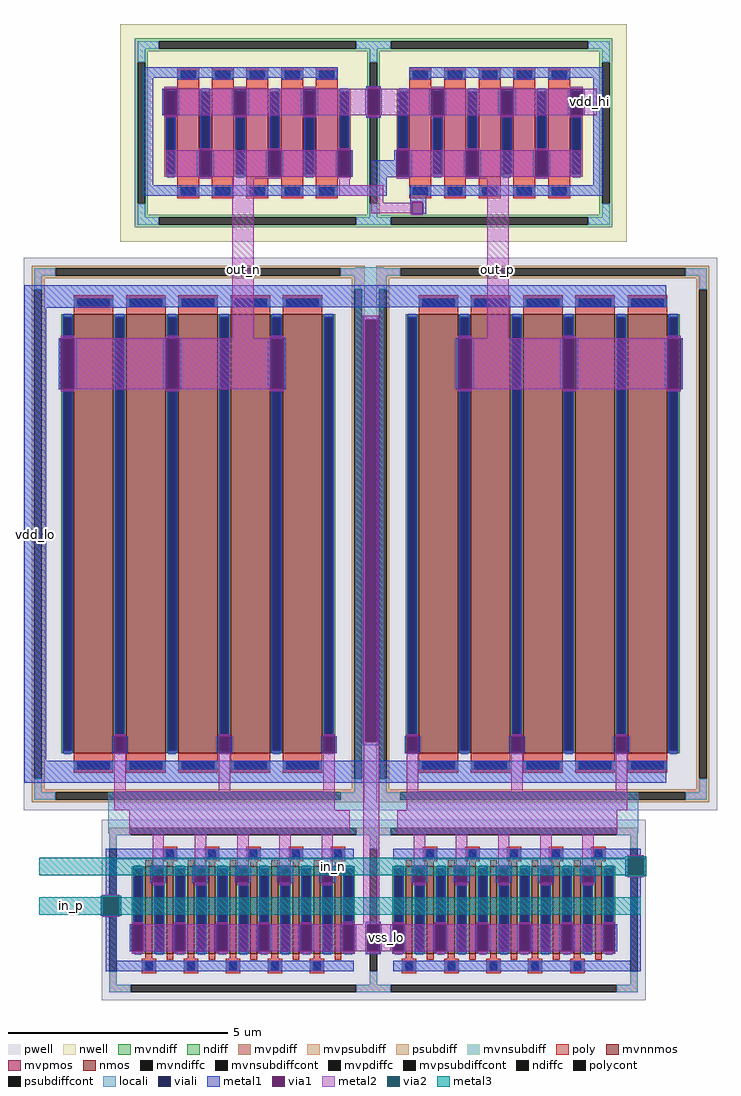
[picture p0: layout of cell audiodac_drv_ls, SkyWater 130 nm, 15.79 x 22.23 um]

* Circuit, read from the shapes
.subckt audiodac_drv_ls in_p in_n out_p out_n vdd_hi vss_lo vdd_lo
XM1 n1 vdd_lo out_n vss_lo sky130_fd_pr__nfet_05v0_nvt w=10 l=0.9 m=5
XM2 n1 in_p vss_lo vss_lo sky130_fd_pr__nfet_01v8 w=2 l=0.15 m=10
XM3 n2 in_n vss_lo vss_lo sky130_fd_pr__nfet_01v8 w=2 l=0.15 m=10
XM4 out_p vdd_lo n2 vss_lo sky130_fd_pr__nfet_05v0_nvt w=10 l=0.9 m=5
XM5 out_n out_p vdd_hi vdd_hi sky130_fd_pr__pfet_g5v0d10v5 w=2 l=0.5 m=5
XM6 vdd_hi out_n out_p vdd_hi sky130_fd_pr__pfet_g5v0d10v5 w=2 l=0.5 m=5
.ends

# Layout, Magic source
magic
tech sky130A
magscale 1 2
<< mvndiff >>
rect -3307 -18881 -3273 -18869
<< locali >>
rect -2216 -16906 -2090 -16666
rect -814 -16844 -798 -16810
rect -2216 -18828 -2172 -16906
rect -2120 -18828 -2090 -16906
rect -2216 -19060 -2090 -18828
rect -3344 -19246 -930 -19060
<< viali >>
rect -2162 -15974 -2108 -15854
rect -2172 -18828 -2120 -16906
rect -2164 -19784 -2108 -19660
<< metal1 >>
rect -3186 -15804 -2298 -15756
rect -1972 -15804 -1086 -15756
rect -3186 -16294 -3138 -15804
rect -2168 -15854 -2102 -15842
rect -3098 -15974 -3088 -15854
rect -3030 -15974 -3020 -15854
rect -2782 -15974 -2772 -15854
rect -2714 -15974 -2704 -15854
rect -2466 -15974 -2456 -15854
rect -2398 -15974 -2388 -15854
rect -2172 -15974 -2162 -15854
rect -2108 -15974 -2098 -15854
rect -1882 -15974 -1872 -15854
rect -1814 -15974 -1804 -15854
rect -1566 -15974 -1556 -15854
rect -1498 -15974 -1488 -15854
rect -1250 -15974 -1240 -15854
rect -1182 -15974 -1172 -15854
rect -2168 -15986 -2102 -15974
rect -2940 -16254 -2930 -16134
rect -2872 -16254 -2862 -16134
rect -2624 -16254 -2614 -16134
rect -2556 -16254 -2546 -16134
rect -2308 -16254 -2298 -16134
rect -2240 -16254 -2230 -16134
rect -2040 -16180 -2030 -16134
rect -2146 -16254 -2030 -16180
rect -1972 -16254 -1962 -16134
rect -1724 -16254 -1714 -16134
rect -1656 -16254 -1646 -16134
rect -1408 -16254 -1398 -16134
rect -1340 -16254 -1330 -16134
rect -2146 -16256 -1962 -16254
rect -2146 -16294 -2074 -16256
rect -1134 -16294 -1086 -15804
rect -3186 -16342 -2074 -16294
rect -1968 -16342 -1086 -16294
rect -1968 -16372 -1896 -16342
rect -1968 -16424 -1962 -16372
rect -1910 -16424 -1896 -16372
rect -3255 -16749 -802 -16748
rect -3727 -16850 -802 -16749
rect -3727 -16851 -3255 -16850
rect -3727 -18914 -3625 -16851
rect -2184 -16906 -2114 -16888
rect -3570 -17222 -3560 -16990
rect -3498 -17222 -3488 -16990
rect -3092 -17222 -3082 -16990
rect -3020 -17222 -3010 -16990
rect -2616 -17222 -2606 -16990
rect -2544 -17222 -2534 -16990
rect -3326 -18882 -3316 -18804
rect -3264 -18882 -3254 -18804
rect -2850 -18882 -2840 -18804
rect -2788 -18882 -2778 -18804
rect -2374 -18882 -2364 -18804
rect -2312 -18882 -2302 -18804
rect -2184 -18828 -2172 -16906
rect -2120 -18828 -2114 -16906
rect -1760 -17222 -1750 -16990
rect -1688 -17222 -1678 -16990
rect -1284 -17222 -1274 -16990
rect -1212 -17222 -1202 -16990
rect -808 -17222 -798 -16990
rect -736 -17222 -726 -16990
rect -2184 -18844 -2114 -18828
rect -1994 -18882 -1984 -18804
rect -1932 -18882 -1922 -18804
rect -1518 -18882 -1508 -18804
rect -1456 -18882 -1446 -18804
rect -1042 -18882 -1032 -18804
rect -980 -18882 -970 -18804
rect -3727 -19016 -802 -18914
rect -3356 -19364 -2226 -19316
rect -2046 -19356 -918 -19316
rect -2046 -19364 -978 -19356
rect -3356 -19536 -3306 -19364
rect -3152 -19472 -3142 -19394
rect -3090 -19472 -3080 -19394
rect -2960 -19472 -2950 -19394
rect -2898 -19472 -2888 -19394
rect -2766 -19472 -2756 -19394
rect -2704 -19472 -2694 -19394
rect -2574 -19472 -2564 -19394
rect -2512 -19472 -2502 -19394
rect -2382 -19472 -2372 -19394
rect -2320 -19472 -2310 -19394
rect -1962 -19472 -1952 -19394
rect -1900 -19472 -1890 -19394
rect -1770 -19472 -1760 -19394
rect -1708 -19472 -1698 -19394
rect -1578 -19472 -1568 -19394
rect -1516 -19472 -1506 -19394
rect -1386 -19472 -1376 -19394
rect -1324 -19472 -1314 -19394
rect -1194 -19472 -1184 -19394
rect -1132 -19472 -1122 -19394
rect -988 -19436 -978 -19364
rect -904 -19436 -894 -19356
rect -3378 -19616 -3368 -19536
rect -3294 -19616 -3284 -19536
rect -3356 -19642 -3306 -19616
rect -3354 -19826 -3306 -19642
rect -2170 -19660 -2102 -19648
rect -3246 -19784 -3236 -19660
rect -3184 -19784 -3174 -19660
rect -3054 -19784 -3044 -19660
rect -2992 -19784 -2982 -19660
rect -2862 -19784 -2852 -19660
rect -2800 -19784 -2790 -19660
rect -2670 -19784 -2660 -19660
rect -2608 -19784 -2598 -19660
rect -2478 -19784 -2468 -19660
rect -2416 -19784 -2406 -19660
rect -2286 -19784 -2276 -19660
rect -2224 -19784 -2214 -19660
rect -2174 -19784 -2164 -19660
rect -2108 -19784 -2098 -19660
rect -2058 -19784 -2048 -19660
rect -1996 -19784 -1986 -19660
rect -1866 -19784 -1856 -19660
rect -1804 -19784 -1794 -19660
rect -1674 -19784 -1664 -19660
rect -1612 -19784 -1602 -19660
rect -1482 -19784 -1472 -19660
rect -1420 -19784 -1410 -19660
rect -1290 -19784 -1280 -19660
rect -1228 -19784 -1218 -19660
rect -1098 -19784 -1088 -19660
rect -1036 -19784 -1026 -19660
rect -2170 -19796 -2102 -19784
rect -966 -19826 -918 -19436
rect -3354 -19874 -2226 -19826
rect -2046 -19874 -918 -19826
<< via1 >>
rect -3088 -15974 -3030 -15854
rect -2772 -15974 -2714 -15854
rect -2456 -15974 -2398 -15854
rect -2162 -15974 -2108 -15854
rect -1872 -15974 -1814 -15854
rect -1556 -15974 -1498 -15854
rect -1240 -15974 -1182 -15854
rect -2930 -16254 -2872 -16134
rect -2614 -16254 -2556 -16134
rect -2298 -16254 -2240 -16134
rect -2030 -16254 -1972 -16134
rect -1714 -16254 -1656 -16134
rect -1398 -16254 -1340 -16134
rect -1962 -16424 -1910 -16372
rect -3560 -17222 -3498 -16990
rect -3082 -17222 -3020 -16990
rect -2606 -17222 -2544 -16990
rect -3316 -18882 -3264 -18804
rect -2840 -18882 -2788 -18804
rect -2364 -18882 -2312 -18804
rect -2172 -18828 -2120 -16906
rect -1750 -17222 -1688 -16990
rect -1274 -17222 -1212 -16990
rect -798 -17222 -736 -16990
rect -1984 -18882 -1932 -18804
rect -1508 -18882 -1456 -18804
rect -1032 -18882 -980 -18804
rect -3142 -19472 -3090 -19394
rect -2950 -19472 -2898 -19394
rect -2756 -19472 -2704 -19394
rect -2564 -19472 -2512 -19394
rect -2372 -19472 -2320 -19394
rect -1952 -19472 -1900 -19394
rect -1760 -19472 -1708 -19394
rect -1568 -19472 -1516 -19394
rect -1376 -19472 -1324 -19394
rect -1184 -19472 -1132 -19394
rect -978 -19436 -904 -19356
rect -3368 -19616 -3294 -19536
rect -3236 -19784 -3184 -19660
rect -3044 -19784 -2992 -19660
rect -2852 -19784 -2800 -19660
rect -2660 -19784 -2608 -19660
rect -2468 -19784 -2416 -19660
rect -2276 -19784 -2224 -19660
rect -2164 -19784 -2108 -19660
rect -2048 -19784 -1996 -19660
rect -1856 -19784 -1804 -19660
rect -1664 -19784 -1612 -19660
rect -1472 -19784 -1420 -19660
rect -1280 -19784 -1228 -19660
rect -1088 -19784 -1036 -19660
<< metal2 >>
rect -3088 -15854 -3030 -15844
rect -2772 -15854 -2714 -15844
rect -2456 -15854 -2398 -15844
rect -2162 -15854 -2108 -15844
rect -1872 -15854 -1814 -15844
rect -1556 -15854 -1498 -15844
rect -1240 -15854 -1182 -15844
rect -3030 -15974 -2772 -15854
rect -2714 -15974 -2456 -15854
rect -2398 -15974 -2162 -15854
rect -2108 -15974 -1872 -15854
rect -1814 -15974 -1556 -15854
rect -1498 -15974 -1240 -15854
rect -1182 -15974 -1118 -15854
rect -3088 -15984 -3030 -15974
rect -2772 -15984 -2714 -15974
rect -2456 -15984 -2398 -15974
rect -2162 -15984 -2108 -15974
rect -1872 -15984 -1814 -15974
rect -1556 -15984 -1498 -15974
rect -1240 -15984 -1182 -15974
rect -2930 -16134 -2872 -16124
rect -2614 -16134 -2556 -16124
rect -2298 -16134 -2240 -16124
rect -3082 -16254 -2930 -16134
rect -2872 -16254 -2614 -16134
rect -2556 -16254 -2298 -16134
rect -2930 -16264 -2872 -16254
rect -2778 -16264 -2556 -16254
rect -2298 -16264 -2240 -16254
rect -2030 -16134 -1972 -16124
rect -1714 -16134 -1656 -16124
rect -1398 -16134 -1340 -16124
rect -1972 -16254 -1714 -16134
rect -1656 -16254 -1398 -16134
rect -1340 -16254 -1188 -16134
rect -2030 -16264 -1972 -16254
rect -1714 -16264 -1520 -16254
rect -1398 -16264 -1340 -16254
rect -3560 -16990 -3498 -16980
rect -3082 -16990 -3020 -16980
rect -2778 -16990 -2680 -16264
rect -2292 -16294 -2244 -16264
rect -2292 -16342 -2090 -16294
rect -2146 -16374 -2090 -16342
rect -1962 -16372 -1910 -16366
rect -2146 -16422 -1962 -16374
rect -1962 -16430 -1910 -16424
rect -2182 -16906 -2110 -16888
rect -2606 -16990 -2544 -16980
rect -3498 -17222 -3082 -16990
rect -3020 -17222 -2606 -16990
rect -3560 -17232 -3498 -17222
rect -3082 -17232 -3020 -17222
rect -2606 -17232 -2544 -17222
rect -3316 -18804 -3264 -18794
rect -3316 -19054 -3264 -18882
rect -2840 -18804 -2788 -18794
rect -2840 -19054 -2788 -18882
rect -2364 -18804 -2312 -18794
rect -2364 -19054 -2312 -18882
rect -3316 -19140 -2312 -19054
rect -2182 -18828 -2172 -16906
rect -2120 -18828 -2110 -16906
rect -1750 -16990 -1688 -16980
rect -1618 -16990 -1520 -16264
rect -1274 -16990 -1212 -16980
rect -798 -16990 -736 -16980
rect -1688 -17222 -1274 -16990
rect -1212 -17222 -798 -16990
rect -1750 -17232 -1688 -17222
rect -1274 -17232 -1212 -17222
rect -798 -17232 -736 -17222
rect -3248 -19248 -2244 -19140
rect -3142 -19394 -3090 -19248
rect -3142 -19482 -3090 -19472
rect -2950 -19394 -2898 -19248
rect -2950 -19482 -2898 -19472
rect -2756 -19394 -2704 -19248
rect -2756 -19482 -2704 -19472
rect -2564 -19394 -2512 -19248
rect -2564 -19482 -2512 -19472
rect -2372 -19394 -2320 -19248
rect -2372 -19482 -2320 -19472
rect -3368 -19536 -3294 -19526
rect -3368 -19626 -3294 -19616
rect -3236 -19660 -3184 -19650
rect -3044 -19660 -2992 -19650
rect -2852 -19660 -2800 -19650
rect -2660 -19660 -2608 -19650
rect -2468 -19660 -2416 -19650
rect -2276 -19660 -2224 -19648
rect -2182 -19650 -2110 -18828
rect -1984 -18804 -1932 -18794
rect -1984 -19054 -1932 -18882
rect -1508 -18804 -1456 -18794
rect -1508 -19054 -1456 -18882
rect -1032 -18804 -980 -18794
rect -1032 -19054 -980 -18882
rect -1984 -19140 -980 -19054
rect -2028 -19248 -1024 -19140
rect -1952 -19394 -1900 -19248
rect -1952 -19482 -1900 -19472
rect -1760 -19394 -1708 -19248
rect -1760 -19482 -1708 -19472
rect -1568 -19394 -1516 -19248
rect -1568 -19482 -1516 -19472
rect -1376 -19394 -1324 -19248
rect -1376 -19482 -1324 -19472
rect -1184 -19394 -1132 -19248
rect -978 -19356 -904 -19346
rect -978 -19446 -904 -19436
rect -1184 -19482 -1132 -19472
rect -2182 -19660 -2108 -19650
rect -2048 -19660 -1996 -19650
rect -1856 -19660 -1804 -19650
rect -1664 -19660 -1612 -19650
rect -1472 -19660 -1420 -19650
rect -1280 -19660 -1228 -19650
rect -1088 -19660 -1036 -19650
rect -3184 -19784 -3044 -19660
rect -2992 -19784 -2852 -19660
rect -2800 -19784 -2660 -19660
rect -2608 -19784 -2468 -19660
rect -2416 -19784 -2276 -19660
rect -2224 -19784 -2164 -19660
rect -2108 -19784 -2048 -19660
rect -1996 -19784 -1856 -19660
rect -1804 -19784 -1664 -19660
rect -1612 -19784 -1472 -19660
rect -1420 -19784 -1280 -19660
rect -1228 -19784 -1088 -19660
rect -3236 -19794 -3184 -19784
rect -3044 -19794 -2992 -19784
rect -2852 -19794 -2800 -19784
rect -2660 -19794 -2608 -19784
rect -2468 -19794 -2416 -19784
rect -2276 -19792 -2224 -19784
rect -2164 -19794 -2108 -19784
rect -2048 -19794 -1996 -19784
rect -1856 -19794 -1804 -19784
rect -1664 -19794 -1612 -19784
rect -1472 -19794 -1420 -19784
rect -1280 -19794 -1228 -19784
rect -1088 -19794 -1036 -19784
<< via2 >>
rect -3368 -19616 -3294 -19536
rect -978 -19436 -904 -19356
<< metal3 >>
rect -988 -19356 -894 -19351
rect -3658 -19436 -978 -19356
rect -904 -19436 -894 -19356
rect -988 -19441 -894 -19436
rect -3378 -19536 -3284 -19531
rect -3658 -19616 -3368 -19536
rect -3294 -19616 -918 -19536
rect -3378 -19621 -3284 -19616
use sky130_fd_pr__nfet_01v8_U85QGS  sky130_fd_pr__nfet_01v8_U85QGS_0 paramcells
transform 1 0 -1542 0 1 -19595
box -646 -410 646 410
use sky130_fd_pr__nfet_05v0_nvt_ARHMTT  sky130_fd_pr__nfet_05v0_nvt_ARHMTT_0 paramcells
transform 1 0 -2934 0 1 -17882
box -794 -1258 794 1258
use sky130_fd_pr__nfet_05v0_nvt_ARHMTT  sky130_fd_pr__nfet_05v0_nvt_ARHMTT_1
transform 1 0 -1364 0 1 -17882
box -794 -1258 794 1258
use sky130_fd_pr__nfet_01v8_U85QGS  XM1
transform 1 0 -2728 0 1 -19595
box -646 -410 646 410
use sky130_fd_pr__pfet_g5v0d10v5_B24TY6  XM5 paramcells
transform 1 0 -1606 0 1 -16055
box -624 -496 624 496
use sky130_fd_pr__pfet_g5v0d10v5_B24TY6  XM6
transform -1 0 -2664 0 1 -16055
box -624 -496 624 496
<< labels >>
rlabel metal3 -3658 -19436 -978 -19356 1 in_n
port 2 n
rlabel metal3 -3658 -19616 -3368 -19536 1 in_p
port 1 n
rlabel metal2 -2778 -17222 -2680 -16134 1 out_n
port 4 n
rlabel metal2 -1618 -17222 -1520 -16134 1 out_p
port 3 n
rlabel metal2 -2108 -19784 -2048 -19660 1 vss_lo
port 6 n
rlabel metal1 -3727 -19016 -3625 -16749 1 vdd_lo
port 7 n
rlabel metal2 -1182 -15974 -1118 -15854 1 vdd_hi
port 5 n
<< end >>

# cell sky130_fd_pr__nfet_01v8_U85QGS: kit device sky130_fd_pr__nfet_01v8, w 2 l 0.15 m 1 nf 10 diffcov 100 polycov 100 guard 1 glc 1 grc 1 gtc 1 gbc 1 tbcov 100 rlcov 100 topc 1 botc 1 poverlap 0 doverlap 1 lmin 0.15 wmin 0.42 compatible {sky130_fd_pr__nfet_01v8 sky130_fd_pr__nfet_01v8_lvt sky130_fd_bs_flash__special_sonosfet_star sky130_fd_pr__nfet_g5v0d10v5 sky130_fd_pr__nfet_05v0_nvt sky130_fd_pr__nfet_03v3_nvt} full_metal 1 viasrc 100 viadrn 100 viagate 100 viagb 0 viagr 0 viagl 0 viagt 0

# cell sky130_fd_pr__nfet_05v0_nvt_ARHMTT: kit device sky130_fd_pr__nfet_05v0_nvt, w 10 l 0.90 m 1 nf 5 diffcov 100 polycov 100 guard 1 glc 1 grc 1 gtc 1 gbc 1 tbcov 100 rlcov 100 topc 1 botc 1 poverlap 0 doverlap 1 lmin 0.90 wmin 0.42 compatible {sky130_fd_pr__nfet_01v8 sky130_fd_pr__nfet_01v8_lvt sky130_fd_bs_flash__special_sonosfet_star sky130_fd_pr__nfet_g5v0d10v5 sky130_fd_pr__nfet_05v0_nvt sky130_fd_pr__nfet_03v3_nvt} full_metal 1 viasrc 100 viadrn 100 viagate 100 viagb 0 viagr 0 viagl 0 viagt 0

# cell sky130_fd_pr__pfet_g5v0d10v5_B24TY6: kit device sky130_fd_pr__pfet_g5v0d10v5, w 2 l 0.5 m 1 nf 5 diffcov 100 polycov 100 guard 1 glc 1 grc 1 gtc 1 gbc 1 tbcov 100 rlcov 100 topc 1 botc 1 poverlap 0 doverlap 1 lmin 0.50 wmin 0.42 compatible {sky130_fd_pr__pfet_01v8 sky130_fd_pr__pfet_01v8_lvt sky130_fd_pr__pfet_01v8_hvt sky130_fd_pr__pfet_g5v0d10v5} full_metal 1 viasrc 100 viadrn 100 viagate 100 viagb 0 viagr 0 viagl 0 viagt 0
